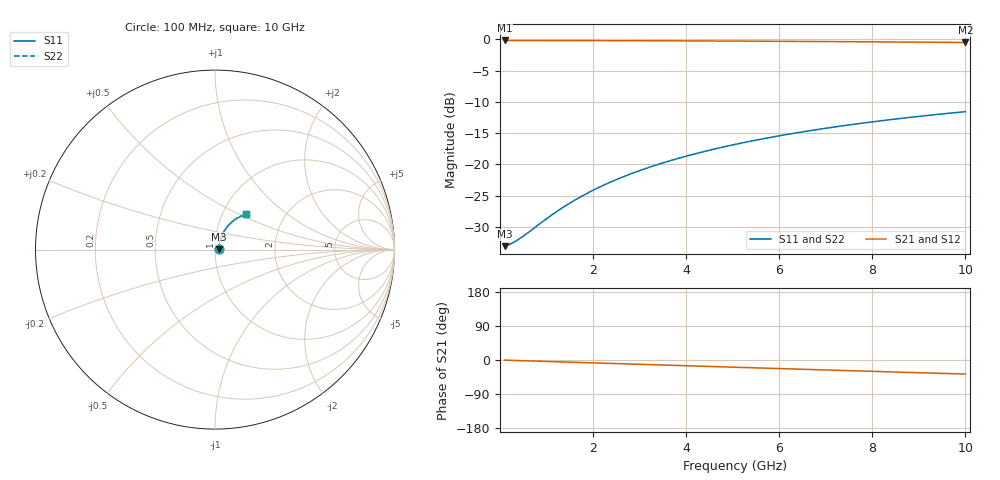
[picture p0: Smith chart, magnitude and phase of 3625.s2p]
# Hz S RI R 50.00
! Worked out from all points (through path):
!   100 points, 100 MHz to 10 GHz, reference 50 ohm
!   highest |S21| = -0.19 dB at 100 MHz (marker M1); lowest = -0.5 dB at 10 GHz (marker M2)
!   group delay of S21, straight-line fit = 10.3 ps
!   lowest |S11| = -33.1 dB at 100 MHz (marker M3), VSWR 1.05, Z = 52.2 + j0.287 ohm
!   |S11| at or under -10 dB: start of sweep to end of sweep
!   |S22| runs from -33.1 to -11.6 dB; largest |S21 - S12| = 0
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1e8  0.022 0.00275  0.978 -0.00649  0.978 -0.00649  0.022 0.00275
2e8  0.0222 0.0055  0.9778 -0.013  0.9778 -0.013  0.0222 0.0055
3e8  0.0224 0.00824  0.9776 -0.0195  0.9776 -0.0195  0.0224 0.00824
4e8  0.0226 0.011  0.9773 -0.0259  0.9773 -0.0259  0.0226 0.011
5e8  0.0228 0.0137  0.977 -0.0324  0.977 -0.0324  0.0228 0.0137
1.2e9  0.0253 0.0328  0.9736 -0.0776  0.9736 -0.0776  0.0253 0.0328
1.5e9  0.0269 0.0408  0.9715 -0.0969  0.9715 -0.0969  0.0269 0.0408
1.8e9  0.0288 0.0488  0.9689 -0.1161  0.9689 -0.1161  0.0288 0.0488
2.1e9  0.031 0.0567  0.9658 -0.1352  0.9658 -0.1352  0.031 0.0567
2.5e9  0.0344 0.0671  0.9611 -0.1606  0.9611 -0.1606  0.0344 0.0671
2.9e9  0.0383 0.0773  0.9556 -0.1857  0.9556 -0.1857  0.0383 0.0773
3.4e9  0.044 0.0896  0.9477 -0.2167  0.9477 -0.2167  0.044 0.0896
3.8e9  0.0491 0.0992  0.9406 -0.2413  0.9406 -0.2413  0.0491 0.0992
4.2e9  0.0546 0.1085  0.9327 -0.2655  0.9327 -0.2655  0.0546 0.1085
4.6e9  0.0607 0.1175  0.9241 -0.2893  0.9241 -0.2893  0.0607 0.1175
5.1e9  0.0688 0.1282  0.9125 -0.3187  0.9125 -0.3187  0.0688 0.1282
5.9e9  0.0832 0.144  0.8918 -0.3643  0.8918 -0.3643  0.0832 0.144
6.7e9  0.0991 0.1582  0.8686 -0.4082  0.8686 -0.4082  0.0991 0.1582
7.5e9  0.1162 0.1705  0.8432 -0.4503  0.8432 -0.4503  0.1162 0.1705
8.4e9  0.1367 0.1822  0.8122 -0.4952  0.8122 -0.4952  0.1367 0.1822
9.2e9  0.1558 0.1904  0.7828 -0.533  0.7828 -0.533  0.1558 0.1904
1e10  0.1754 0.1966  0.7517 -0.5687  0.7517 -0.5687  0.1754 0.1966
